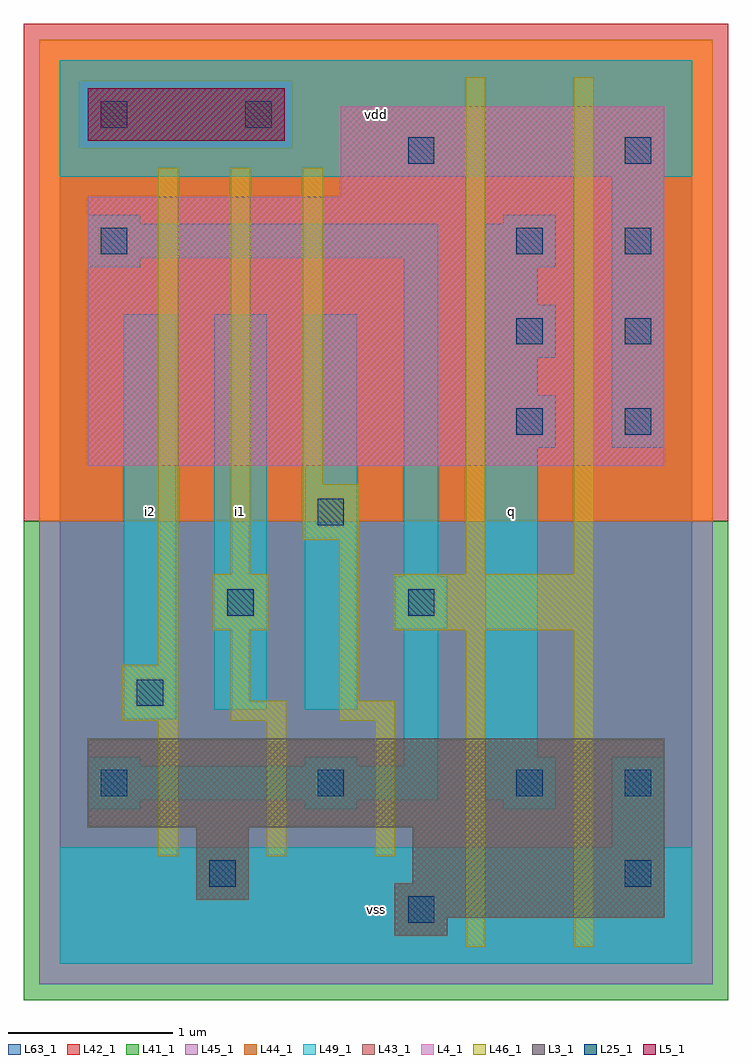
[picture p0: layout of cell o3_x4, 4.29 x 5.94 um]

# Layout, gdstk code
import gdstk
lib = gdstk.Library(unit=1e-6, precision=1e-09)
def R(c, l, rs):  # rectangles x0, y0, x1, y1
    for r in rs: c.add(gdstk.rectangle(r[:2], r[2:], *l))
def A(c, l, x, y, w, h, nx, ny, dx, dy):  # array of equal rectangles
    R(c, l, [(x+i*dx, y+j*dy, x+i*dx+w, y+j*dy+h) for i in range(nx) for j in range(ny)])
L3_1 = (3, 1)
L4_1 = (4, 1)
L5_1 = (5, 1)
L25_1 = (25, 1)
L41_1 = (41, 1)
L42_1 = (42, 1)
L43_1 = (43, 1)
L44_1 = (44, 1)
L45_1 = (45, 1)
L46_1 = (46, 1)
L49_1 = (49, 1)
L63_1 = (63, 1)

o3_x4 = lib.new_cell('o3_x4')
R(o3_x4, L3_1, [(2.04,0.17,2.36,0.28), (2.04,0.28,3.68,0.49), (0.83,0.39,1.15,0.83), (2.15,0.49,3.68,0.83), (0.17,0.83,3.68,1.37)])
R(o3_x4, L4_1, [(0.17,3.03,3.68,4.67), (1.71,4.67,3.68,5.22)])
R(o3_x4, L5_1, [(0.17,5.01,1.37,5.33)])
A(o3_x4, L25_1, 2.78, 3.22, 0.16, 0.16, 1, 3, 0, 0.55)
A(o3_x4, L25_1, 3.44, 3.22, 0.16, 0.16, 1, 4, 0, 0.55)
R(o3_x4, L25_1, [(2.12,0.25,2.28,0.41), (0.91,0.47,1.07,0.63), (3.44,0.47,3.6,0.63), (0.25,1.02,0.41,1.18), (1.57,1.02,1.73,1.18), (2.78,1.02,2.94,1.18), (3.44,1.02,3.6,1.18), (0.47,1.57,0.63,1.73), (1.02,2.12,1.18,2.28), (2.12,2.12,2.28,2.28), (1.57,2.67,1.73,2.83), (0.25,4.32,0.41,4.48), (2.12,4.87,2.28,5.03), (0.25,5.09,0.41,5.25), (1.13,5.09,1.29,5.25)])
R(o3_x4, L41_1, [(-0.22,-0.22,4.07,2.695)])
R(o3_x4, L42_1, [(-0.22,2.695,4.07,5.72)])
R(o3_x4, L43_1, [(2.04,0.17,2.36,0.28), (2.04,0.28,3.68,0.49), (0.83,0.39,1.15,0.83), (2.15,0.49,3.68,0.83), (0.17,0.83,3.68,1.37), (0.17,3.03,3.68,4.67), (1.71,4.67,3.68,5.22), (0.17,5.01,1.37,5.33)])
R(o3_x4, L44_1, [(-0.125,2.695,3.975,4.965), (-0.125,4.965,0.125,5.375), (1.415,4.965,3.975,5.375), (-0.125,5.375,3.975,5.625)])
R(o3_x4, L45_1, [(-0.125,-0.125,3.975,2.695), (0.125,4.965,1.415,5.375)])
A(o3_x4, L46_1, 0.6, 0.655, 0.12, 0.825, 3, 1, 0.66, 0)
R(o3_x4, L46_1, [(2.47,0.105,2.59,2.03), (3.13,0.105,3.25,2.03), (0.38,1.48,0.72,1.82), (1.04,1.48,1.38,1.6), (1.7,1.48,2.04,1.6), (1.04,1.6,1.16,2.03), (1.7,1.6,1.82,2.58), (0.6,1.82,0.72,4.845), (0.93,2.03,1.27,2.37), (2.03,2.03,3.25,2.37), (1.04,2.37,1.16,4.845), (2.47,2.37,2.59,5.395), (3.13,2.37,3.25,5.395), (1.48,2.58,1.82,2.92), (1.48,2.92,1.6,4.845)])
R(o3_x4, L49_1, [(0,0,3.85,0.71), (3.36,0.71,3.68,1.26), (0.17,0.94,0.49,0.995), (1.49,0.94,1.81,0.995), (2.7,0.94,3.02,0.995), (0.17,0.995,2.305,1.205), (2.59,0.995,3.02,1.26), (0.17,1.205,0.49,1.26), (1.49,1.205,1.81,1.26), (2.095,1.205,2.305,2.04), (2.59,1.26,2.91,3.14), (0.39,1.49,0.71,3.955), (0.94,1.545,1.26,3.955), (1.49,1.545,1.81,3.955), (2.04,2.04,2.36,2.36), (2.095,2.36,2.305,4.295), (2.59,3.14,3.02,3.46), (3.36,3.14,3.68,4.79), (2.59,3.46,2.91,3.69), (2.59,3.69,3.02,4.01), (2.59,4.01,2.91,4.24), (0.17,4.24,0.49,4.295), (2.59,4.24,3.02,4.505), (0.17,4.295,2.305,4.505), (0.17,4.505,0.49,4.56), (2.7,4.505,3.02,4.56), (0,4.79,3.85,5.5)])
R(o3_x4, L63_1, [(0,0,3.85,5.5)])
o3_x4.add(gdstk.Label('i2', (0.55,2.75), layer=49, texttype=1))
o3_x4.add(gdstk.Label('i2', (0.55,2.75), layer=49, texttype=1))
o3_x4.add(gdstk.Label('i1', (1.1,2.75), layer=49, texttype=1))
o3_x4.add(gdstk.Label('i1', (1.1,2.75), layer=49, texttype=1))
o3_x4.add(gdstk.Label('vss', (1.925,0.33), layer=49, texttype=1))
o3_x4.add(gdstk.Label('vss', (1.925,0.33), layer=49, texttype=1))
o3_x4.add(gdstk.Label('q', (2.75,2.75), layer=49, texttype=1))
o3_x4.add(gdstk.Label('q', (2.75,2.75), layer=49, texttype=1))
o3_x4.add(gdstk.Label('vdd', (1.925,5.17), layer=49, texttype=1))
o3_x4.add(gdstk.Label('vdd', (1.925,5.17), layer=49, texttype=1))

lib.write_gds('o3_x4.gds')
